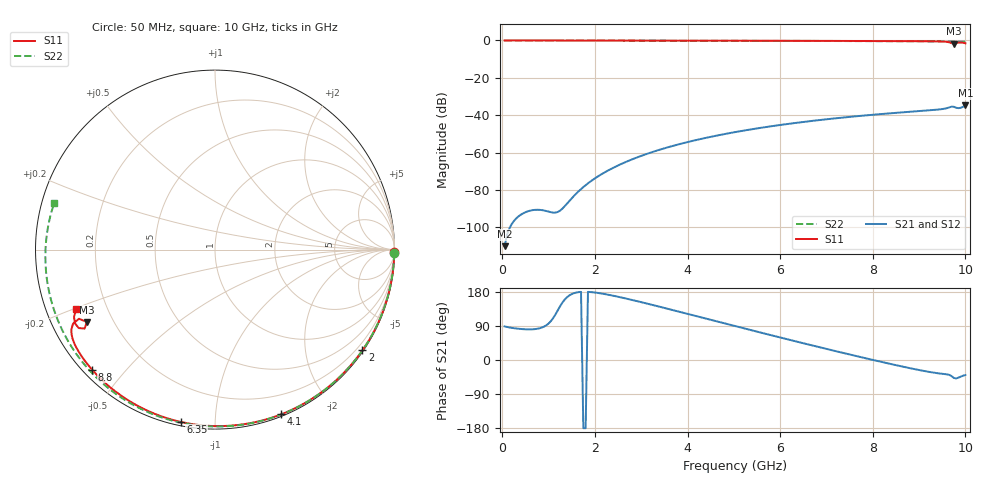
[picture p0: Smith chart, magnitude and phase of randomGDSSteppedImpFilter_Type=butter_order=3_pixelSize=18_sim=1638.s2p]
! freq	dB(S11)	phase(S11)	dB(S12)	phase(S12)
!  dB(S21)	phase(S21)	dB(S22)	phase(S22)
!S-par simulation data
#  GHz  S  DB  R 50
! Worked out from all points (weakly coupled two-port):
!   200 points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, 50 MHz to 10 GHz, reference 50 ohm
!   highest |S21| = -34.63 dB at 10 GHz (marker M1); lowest = -110.0 dB at 50 MHz (marker M2)
!   lowest |S11| = -1.7 dB at 9.75 GHz (marker M3), VSWR 10.12, Z = 5.28 - j13 ohm
!   |S11| at or under -10 dB: nowhere
!   |S22| runs from -0.6 to 0.0 dB; largest |S21 - S12| = 0
!   S11 on the Smith chart (normalised r, x): 50 MHz: open; 2 GHz: 0.03, -3.24; 4.1 GHz: 0.02, -1.48; 6.35 GHz: 0.02, -0.82; 8.8 GHz: 0.03, -0.41; 10 GHz: 0.09, -0.20
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0.05  -0.00 -0.9  -110.02 88.6  -110.02 88.6  -0.00 -1.1
0.8  -0.02 -13.9  -90.59 83.5  -90.59 83.5  -0.02 -18.2
1.65  -0.04 -28.4  -80.61 179.2  -80.61 179.2  -0.05 -37.1
1.75  -0.04 -30.1  -78.41 -179.9  -78.41 -179.9  -0.05 -39.3
2  -0.04 -34.3  -73.76 178.1  -73.76 178.1  -0.06 -44.8
2.3  -0.05 -39.3  -69.33 172.0  -69.33 172.0  -0.07 -51.2
2.6  -0.06 -44.3  -65.71 164.2  -65.71 164.2  -0.07 -57.5
3.4  -0.08 -57.2  -58.42 140.5  -58.42 140.5  -0.10 -74.0
4.1  -0.09 -68.1  -53.75 118.6  -53.75 118.6  -0.12 -87.8
5.05  -0.13 -82.5  -48.91 88.8  -48.91 88.8  -0.16 -105.8
6.35  -0.19 -101.3  -44.06 48.8  -44.06 48.8  -0.24 -129.3
6.7  -0.21 -106.2  -43.00 38.2  -43.00 38.2  -0.26 -135.6
7.55  -0.26 -118.0  -40.76 13.1  -40.76 13.1  -0.33 -150.6
8.35  -0.33 -129.2  -39.01 -9.5  -39.01 -9.5  -0.41 -165.0
8.8  -0.38 -135.7  -38.16 -21.5  -38.16 -21.5  -0.46 -173.2
9.3  -0.47 -143.8  -37.22 -33.1  -37.22 -33.1  -0.52 177.4
9.55  -0.64 -149.4  -36.48 -37.1  -36.48 -37.1  -0.55 172.6
9.7  -1.41 -153.0  -35.42 -42.3  -35.42 -42.3  -0.57 169.6
9.75  -1.72 -150.5  -35.46 -47.3  -35.46 -47.3  -0.57 168.6
9.8  -1.42 -148.8  -36.00 -48.7  -36.00 -48.7  -0.58 167.6
9.85  -1.15 -150.1  -36.20 -46.5  -36.20 -46.5  -0.59 166.7
10  -1.50 -156.8  -34.63 -39.7  -34.63 -39.7  -0.61 163.7
